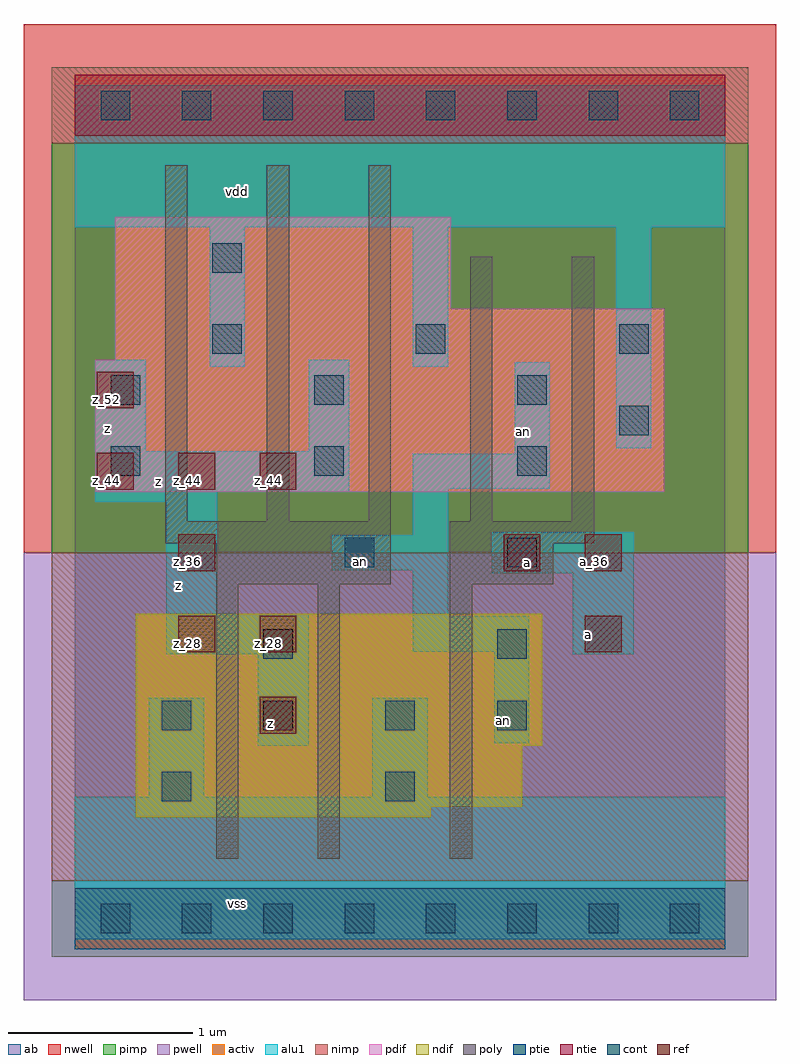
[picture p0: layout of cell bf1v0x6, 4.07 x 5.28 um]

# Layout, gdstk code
import gdstk
lib = gdstk.Library(unit=1e-6, precision=2.5e-09)
def R(c, l, rs):  # rectangles x0, y0, x1, y1
    for r in rs: c.add(gdstk.rectangle(r[:2], r[2:], *l))
def A(c, l, x, y, w, h, nx, ny, dx, dy):  # array of equal rectangles
    R(c, l, [(x+i*dx, y+j*dy, x+i*dx+w, y+j*dy+h) for i in range(nx) for j in range(ny)])
ndif = (3, 0)
pdif = (4, 0)
ntie = (5, 0)
ptie = (6, 0)
ref = (24, 0)
cont = (25, 0)
pwell = (41, 0)
nwell = (42, 0)
activ = (43, 0)
pimp = (44, 0)
nimp = (45, 0)
poly = (46, 0)
alu1 = (49, 0)
ab = (63, 0)

bf1v0x6 = lib.new_cell('bf1v0x6')
R(bf1v0x6, ndif, [(0.33,0.55,1.925,0.605), (0.33,0.605,2.42,0.935), (0.33,0.935,2.53,1.65)])
R(bf1v0x6, pdif, [(0.11,2.31,3.19,3.025), (0.22,3.025,3.19,3.3), (0.22,3.3,2.035,3.795)])
R(bf1v0x6, ntie, [(0,4.235,3.52,4.565)])
R(bf1v0x6, ptie, [(0,-0.165,3.52,0.165)])
A(bf1v0x6, ref, 0.12, 2.32, 0.2, 0.2, 3, 1, 0.44, 0)
R(bf1v0x6, ref, [(1,1,1.2,1.2), (0.56,1.44,0.76,1.64), (1,1.44,1.2,1.64), (2.76,1.44,2.96,1.64), (0.56,1.88,0.76,2.08), (2.32,1.88,2.52,2.08), (2.76,1.88,2.96,2.08), (0.12,2.76,0.32,2.96)])
A(bf1v0x6, cont, 0.14, -0.08, 0.16, 0.16, 8, 2, 0.44, 4.4)
A(bf1v0x6, cont, 0.195, 2.395, 0.16, 0.16, 3, 2, 1.1, 0.385)
A(bf1v0x6, cont, 0.745, 3.055, 0.16, 0.16, 3, 1, 1.1, 0)
R(bf1v0x6, cont, [(0.47,0.635,0.63,0.795), (1.68,0.635,1.84,0.795), (0.47,1.02,0.63,1.18), (1.02,1.02,1.18,1.18), (1.68,1.02,1.84,1.18), (2.285,1.02,2.445,1.18), (1.02,1.405,1.18,1.565), (2.285,1.405,2.445,1.565), (1.46,1.9,1.62,2.06), (2.34,1.9,2.5,2.06), (2.945,2.615,3.105,2.775), (0.745,3.495,0.905,3.655)])
R(bf1v0x6, pwell, [(-0.275,-0.44,3.795,1.98)])
R(bf1v0x6, nwell, [(-0.275,1.98,3.795,4.84)])
R(bf1v0x6, activ, [(0,-0.165,3.52,0.165), (0.33,0.55,1.925,0.605), (0.33,0.605,2.42,0.935), (0.33,0.935,2.53,1.65), (0.11,2.31,3.19,3.025), (0.22,3.025,3.19,3.3), (0.22,3.3,2.035,3.795), (0,4.235,3.52,4.565)])
R(bf1v0x6, pimp, [(-0.125,-0.205,3.645,0.205), (-0.125,1.98,3.645,4.195)])
R(bf1v0x6, nimp, [(-0.125,0.205,3.645,1.98), (-0.125,4.195,3.645,4.605)])
A(bf1v0x6, poly, 0.49, 2.15, 0.12, 1.925, 3, 1, 0.55, 0)
R(bf1v0x6, poly, [(0.765,0.325,0.885,1.81), (1.315,0.325,1.435,1.81), (2.03,0.325,2.15,1.81), (0.765,1.81,1.71,2.03), (2.03,1.81,2.59,2.03), (0.49,2.03,1.71,2.15), (2.03,2.03,2.81,2.15), (2.14,2.15,2.26,3.58), (2.69,2.15,2.81,3.58)])
R(bf1v0x6, alu1, [(0,-0.11,3.52,0.66), (0.4,0.66,0.7,1.195), (1.61,0.66,1.91,1.195), (0.99,0.935,1.265,1.43), (2.27,0.95,2.46,1.445), (0.495,1.43,1.265,1.65), (2.695,1.43,3.025,1.87), (1.83,1.445,2.46,1.635), (1.83,1.635,2.02,1.885), (0.495,1.65,0.77,2.255), (2.255,1.87,3.025,2.09), (1.39,1.885,2.02,2.075), (1.83,2.075,2.02,2.325), (0.11,2.255,0.77,2.31), (0.11,2.31,1.485,2.53), (1.83,2.325,2.57,2.515), (2.38,2.515,2.57,3.01), (0.11,2.53,0.385,3.025), (1.265,2.53,1.485,3.025), (2.93,2.545,3.12,3.74), (0.73,2.985,0.92,3.74), (1.83,2.985,2.02,3.74), (0,3.74,3.52,4.51)])
R(bf1v0x6, ab, [(0,0,3.52,4.4)])
bf1v0x6.add(gdstk.Label('vss', (0.88,0.0825), layer=49, texttype=0))
bf1v0x6.add(gdstk.Label('a', (2.7775,1.54), layer=49, texttype=0))
bf1v0x6.add(gdstk.Label('an', (2.3175,1.0725), layer=49, texttype=0))
bf1v0x6.add(gdstk.Label('z', (1.0575,1.0575), layer=49, texttype=0))
bf1v0x6.add(gdstk.Label('a', (2.4475,1.925), layer=49, texttype=0))
bf1v0x6.add(gdstk.Label('an', (1.5475,1.9325), layer=49, texttype=0))
bf1v0x6.add(gdstk.Label('z', (0.5625,1.8), layer=49, texttype=0))
bf1v0x6.add(gdstk.Label('an', (2.4275,2.6375), layer=49, texttype=0))
bf1v0x6.add(gdstk.Label('z', (0.4525,2.365), layer=49, texttype=0))
bf1v0x6.add(gdstk.Label('z', (0.1775,2.6525), layer=49, texttype=0))
bf1v0x6.add(gdstk.Label('vdd', (0.88,3.9325), layer=49, texttype=0))
bf1v0x6.add(gdstk.Label('z_28', (0.61,1.49), layer=24, texttype=0))
bf1v0x6.add(gdstk.Label('z_36', (0.61,1.93), layer=24, texttype=0))
bf1v0x6.add(gdstk.Label('z_44', (0.61,2.37), layer=24, texttype=0))
bf1v0x6.add(gdstk.Label('z_20', (1.05,1.05), layer=24, texttype=0))
bf1v0x6.add(gdstk.Label('z_28', (1.05,1.49), layer=24, texttype=0))
bf1v0x6.add(gdstk.Label('z_44', (1.05,2.37), layer=24, texttype=0))
bf1v0x6.add(gdstk.Label('z_44', (0.17,2.37), layer=24, texttype=0))
bf1v0x6.add(gdstk.Label('z_52', (0.17,2.81), layer=24, texttype=0))
bf1v0x6.add(gdstk.Label('a_36', (2.37,1.93), layer=24, texttype=0))
bf1v0x6.add(gdstk.Label('a_28', (2.81,1.49), layer=24, texttype=0))
bf1v0x6.add(gdstk.Label('a_36', (2.81,1.93), layer=24, texttype=0))

lib.write_gds('bf1v0x6.gds')
